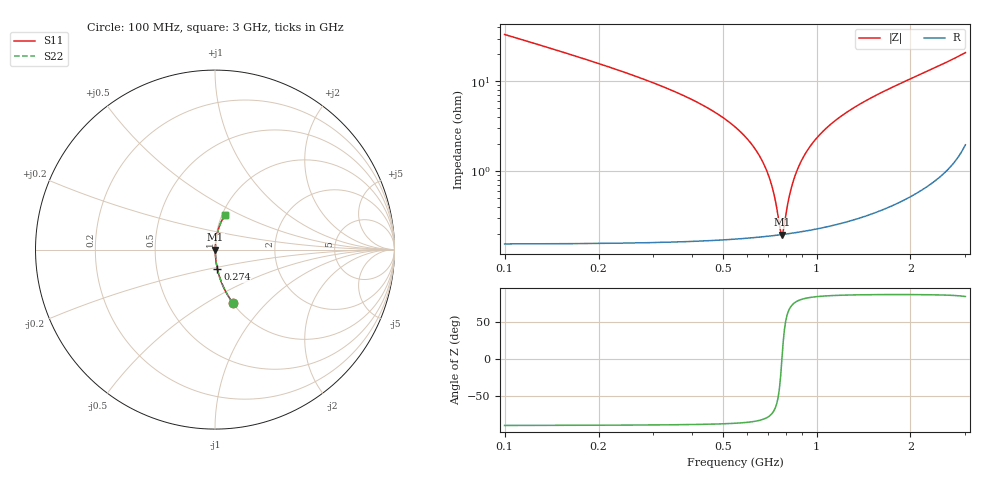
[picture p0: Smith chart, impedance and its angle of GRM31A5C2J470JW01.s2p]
!Murata Part Number: GRM31A5C2J470JW01
!These Parameters are Measured in Series Mode Connection
!Data Generated on Mar 30, 2021
!  o--ll--o
!Port1  Port2
!  o------o
!Operation Temp=25[degC], DC Bias Voltage=0[V]
!Freq. Start=100[MHz] Stop=3[GHz] 401[Steps]
# Hz S RI R 50
!Freq.(Hz) S11(Real) S11(Imag) S21(Real) S21(Imag) S12(Real) S12(Imag) S22(Real) S22(Imag)
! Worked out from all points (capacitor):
!   401 points, 100 MHz to 3 GHz, reference 50 ohm
!   read as one part in series: C = 47 pF near 114.5 MHz
!   lowest |Z| = 197 mohm at 774.2 MHz (marker M1)
!   series resonance near 774.3 MHz, so ESL is about 900 pH
!   S11 on the Smith chart (normalised r, x): 100 MHz: 1.00, -0.67; 274 MHz: 1.00, -0.22; 3 GHz: 1.04, +0.42
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1e8  0.101 -0.299  0.899 0.299  0.899 0.299  0.101 -0.299
1.725e8  0.0351 -0.1799  0.9649 0.1799  0.9649 0.1799  0.0351 -0.1799
2.74e8  0.0131 -0.1067  0.9869 0.1067  0.9869 0.1067  0.0131 -0.1067
4.8425e8  0.00352 -0.0426  0.9965 0.0426  0.9965 0.0426  0.00352 -0.0426
5.8575e8  0.00239 -0.0248  0.9976 0.0248  0.9976 0.0248  0.00239 -0.0248
6.51e8  0.00207 -0.0153  0.9979 0.0153  0.9979 0.0153  0.00207 -0.0153
6.945e8  0.00197 -0.00961  0.998 0.00961  0.998 0.00961  0.00197 -0.00961
7.235e8  0.00194 -0.006  0.9981 0.006  0.9981 0.006  0.00194 -0.006
7.5975e8  0.00195 -0.00168  0.9981 0.00168  0.9981 0.00168  0.00195 -0.00168
7.7425e8  0.00196 -9.4e-06  0.998 9.4e-06  0.998 9.4e-06  0.00196 -9.4e-06
7.8875e8  0.00198 0.00163  0.998 -0.00163  0.998 -0.00163  0.00198 0.00163
8.105e8  0.00202 0.00404  0.998 -0.00404  0.998 -0.00404  0.00202 0.00404
8.3225e8  0.00207 0.0064  0.9979 -0.0064  0.9979 -0.0064  0.00207 0.0064
8.54e8  0.00213 0.0087  0.9979 -0.0087  0.9979 -0.0087  0.00213 0.0087
8.83e8  0.00223 0.0117  0.9978 -0.0117  0.9978 -0.0117  0.00223 0.0117
9.6275e8  0.00259 0.0195  0.9974 -0.0195  0.9974 -0.0195  0.00259 0.0195
1.0715e9  0.00326 0.0296  0.9967 -0.0296  0.9967 -0.0296  0.00326 0.0296
1.26725e9  0.00491 0.0463  0.9951 -0.0463  0.9951 -0.0463  0.00491 0.0463
1.55e9  0.00826 0.069  0.9917 -0.069  0.9917 -0.069  0.00826 0.069
2.03575e9  0.017 0.1072  0.983 -0.1072  0.983 -0.1072  0.017 0.1072
2.5215e9  0.0315 0.1479  0.9685 -0.1479  0.9685 -0.1479  0.0315 0.1479
3e9  0.0585 0.1921  0.9415 -0.1921  0.9415 -0.1921  0.0585 0.1921
